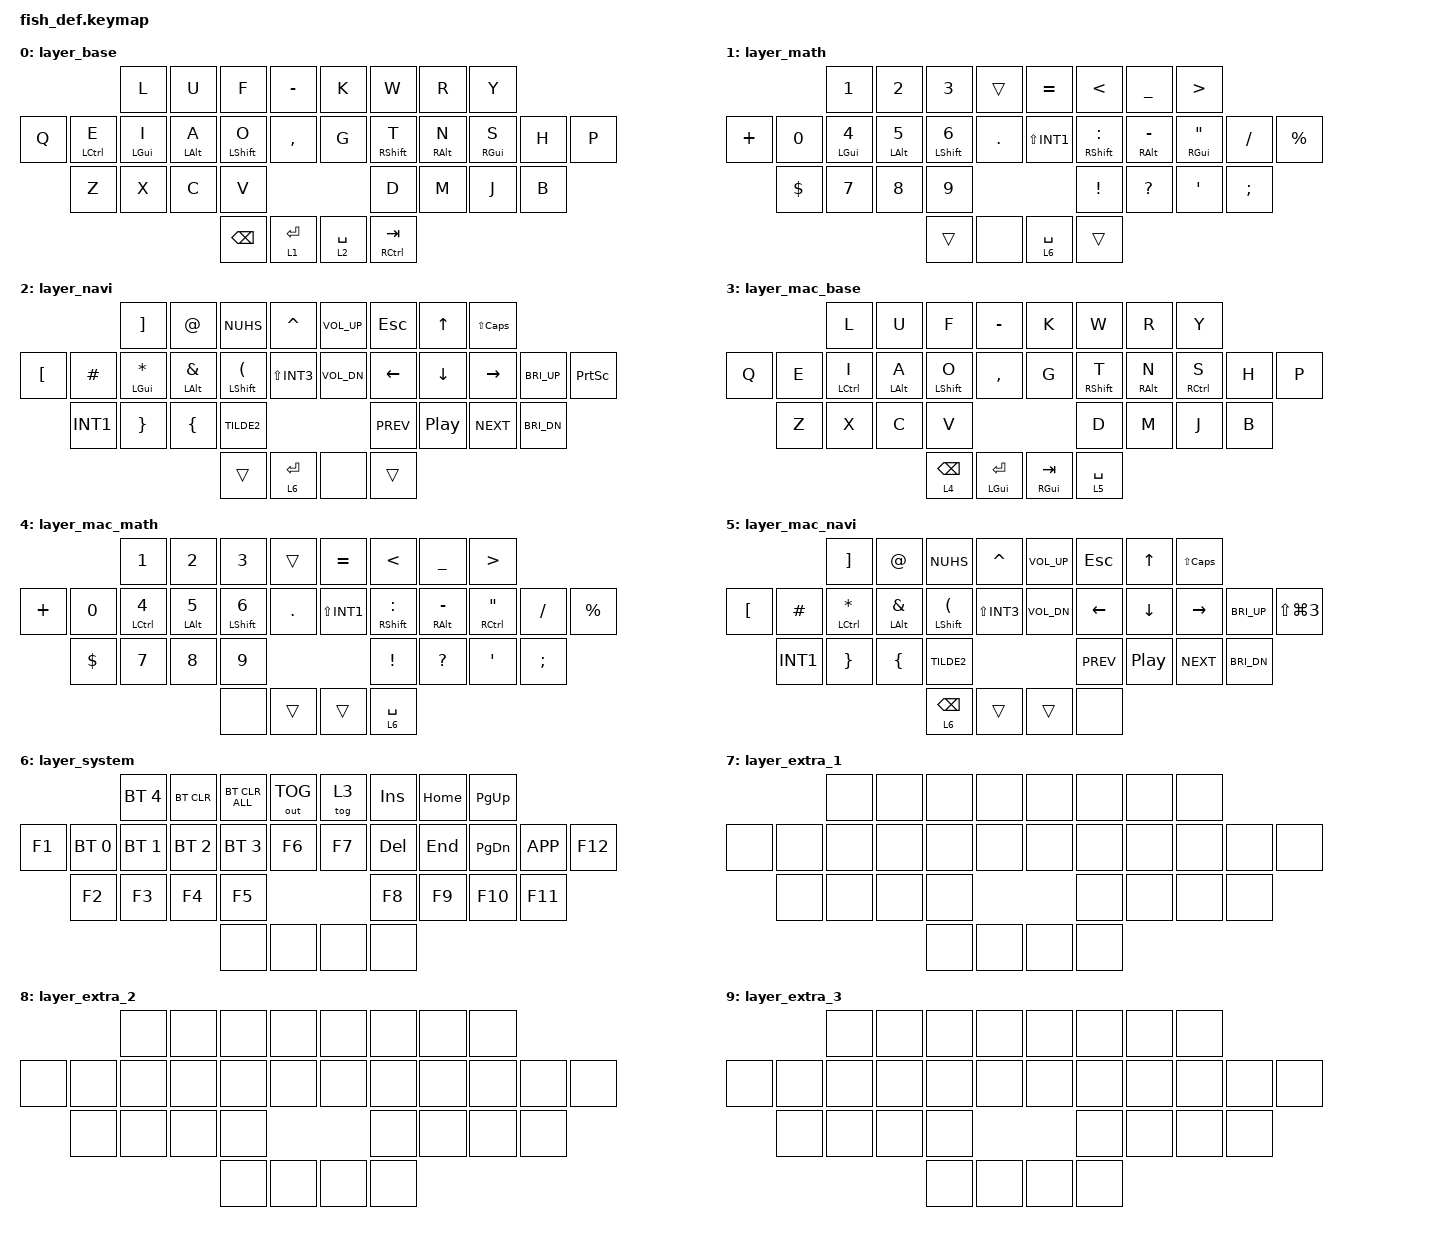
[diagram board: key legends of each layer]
// デフォルトキーマップ（大西配列、Win優先、JIS方式）
// キーマップを更新する方法は https://o24.works/fish/guide を参照
// 視覚的に編集するには https://o24.works/fish/editor を参照


// 定義を呼んでくる
#include <behaviors.dtsi>
#include <dt-bindings/zmk/keys.h>
#include <dt-bindings/zmk/mouse.h>
#include <dt-bindings/zmk/bt.h>
#include <dt-bindings/zmk/outputs.h>
#include <dt-bindings/zmk/pointing.h>

// US とJISの違いを定義しておく
#define JP_DQUOTE       AT                // "
#define JP_AMPERSAND    CARET             // &
#define JP_QUOTE        AMPERSAND         // '
#define JP_EQUAL        UNDER             // =
#define JP_CARET        EQUAL             // ^
#define JP_YEN          0x89              // ¥
#define JP_PLUS         COLON             // +
#define JP_TILDE        PLUS              // ~
#define JP_PIPE         LS(0x89)          // |
#define JP_AT           LEFT_BRACKET      // @
#define JP_COLON        SINGLE_QUOTE      // :
#define JP_ASTERISK     DOUBLE_QUOTES     // *
#define JP_BACKQUOTE    LEFT_BRACE        // `
#define JP_UNDERSCORE   LS(0x87)          // _
#define JP_LBRACKET     RIGHT_BRACKET     // [
#define JP_RBRACKET     BACKSLASH         // ]
#define JP_LPAREN       ASTERISK          // (
#define JP_RPAREN       LEFT_PARENTHESIS  // )
#define JP_LBRACE       RIGHT_BRACE       // {
#define JP_RBRACE       PIPE              // }
#define JP_KANA         LANGUAGE_1        // かな
#define JP_EISU         LANGUAGE_2        // 英数
#define JP_HANZEN       GRAVE             // 半角/全角

// 特殊入力の挙動を調整できる

&mt {
    flavor = "tap-preferred";
    tapping-term-ms = <225>;
    quick-tap-ms = <200>;
    require-prior-idle-ms = <150>;
};

&lt {
    flavor = "balanced";
    tapping-term-ms = <175>;
    quick-tap-ms = <200>;
};

&sk {
};

&sl {
};

&caps_word {
};

&key_repeat {
};


/ {
    // 独自の入力を定義できる（上級者向け）

    behaviors {
    };

    macros {
    };

    conditional_layers {
    };


    // 複数キーの同時押しに特別の入力を設定できる
    // キー番号早見表：
    //       0  1  2  3     4  5  6  7
    // 8  9 10 11 12 13    14 15 16 17 18 19
    //   20 21 22 23          24 25 26 27
    //            28 29    30 31

    combos {
        compatible = "zmk,combos";
        timeout-ms = <100>;
        require-prior-idle-ms = <150>;

        combo_lang2 {
            key-positions = <11 12>;
            bindings = <&kp LANG2>;
            layers = <0>;
        };

        combo_lang1 {
            key-positions = <15 16>;
            bindings = <&kp LANG1>;
            layers = <0>;
        };

        combo_reset_L {
            key-positions = <3 8 13>;
            bindings = <&bootloader>;
        };

        combo_reset_R {
            key-positions = <4 14 19>;
            bindings = <&bootloader>;
        };

        combo_studio_unlock {
            key-positions = <20 21 22 23>;
            bindings = <&studio_unlock>;
        };
    };
    

    // キーに入力を割り当てる
    // 型（&...）は https://zmk.dev/docs/behaviors/... を参照
    // キーコードは https://zmk.dev/docs/codes/... を参照

    keymap {
        compatible = "zmk,keymap";

        layer_base {
            bindings = <
                        &kp L       &kp U       &kp F       &kp MINUS           &kp K       &kp W       &kp R       &kp Y       
&kp Q       &mt LCTRL E       &mt LGUI I  &mt LALT A  &mt LSHFT O &kp COMMA           &kp G       &mt RSHFT T &mt RALT N  &mt RGUI S  &kp H       &kp P       
            &kp Z       &kp X       &kp C       &kp V                                       &kp D       &kp M       &kp J       &kp B       
                                                &kp BSPC  &lt 1 RET       &lt 2 SPACE &mt RCTRL TAB
            >;
        };

        layer_math {
            bindings = <
                        &kp N1      &kp N2      &kp N3      &trans              &kp EQUAL   &kp LT      &kp UNDER   &kp GT      
&kp PLUS    &kp N0      &mt LGUI N4 &mt LALT N5 &mt LSHFT N6 &kp DOT            &kp LS(INT1) &mt RSHFT COLON &mt RALT MINUS &mt RGUI DQT &kp FSLH &kp PRCNT 
            &kp DLLR    &kp N7      &kp N8      &kp N9                                      &kp EXCL    &kp QMARK   &kp SQT     &kp SEMI    
                                                &trans  &none                    &lt 6 SPACE &trans 
            >;
        };

        layer_navi {
            bindings = <
                        &kp RBKT    &kp AT      &kp NUHS    &kp CARET           &kp C_VOL_UP &kp ESC    &kp UP      &kp LS(CAPS) 
&kp LBKT    &kp HASH    &mt LGUI STAR &mt LALT AMPS &mt LSHFT LPAR &kp LS(INT3) &kp C_VOL_DN &kp LEFT   &kp DOWN    &kp RIGHT   &kp C_BRI_UP &kp PSCRN  
            &kp INT1    &kp RBRC    &kp LBRC    &kp TILDE2                                  &kp C_PREV  &kp C_PP    &kp C_NEXT  &kp C_BRI_DN 
                                                &trans &lt 6 RET                   &none  &trans     
            >;
        };

        layer_mac_base {
            bindings = <
                        &kp L       &kp U       &kp F       &kp MINUS           &kp K       &kp W       &kp R       &kp Y       
&kp Q       &kp E       &mt LCTRL I &mt LALT A  &mt LSHFT O &kp COMMA           &kp G       &mt RSHFT T &mt RALT N  &mt RCTRL S &kp H       &kp P       
            &kp Z       &kp X       &kp C       &kp V                                       &kp D       &kp M       &kp J       &kp B       
                                                &lt 4 BSPC  &mt LGUI RET        &mt RGUI TAB &lt 5 SPACE 
            >;
        };

        layer_mac_math {
            bindings = <
                        &kp N1      &kp N2      &kp N3      &trans              &kp EQUAL   &kp LT      &kp UNDER   &kp GT      
&kp PLUS    &kp N0      &mt LCTRL N4 &mt LALT N5 &mt LSHFT N6 &kp DOT           &kp LS(INT1) &mt RSHFT COLON &mt RALT MINUS &mt RCTRL DQT &kp FSLH &kp PRCNT 
            &kp DLLR    &kp N7      &kp N8      &kp N9                                      &kp EXCL    &kp QMARK   &kp SQT     &kp SEMI    
                                                &none       &trans              &trans      &lt 6 SPACE 
            >;
        };

        layer_mac_navi {
            bindings = <
                        &kp RBKT    &kp AT      &kp NUHS    &kp CARET           &kp C_VOL_UP &kp ESC    &kp UP      &kp LS(CAPS) 
&kp LBKT    &kp HASH    &mt LCTRL STAR &mt LALT AMPS &mt LSHFT LPAR &kp LS(INT3) &kp C_VOL_DN &kp LEFT  &kp DOWN    &kp RIGHT   &kp C_BRI_UP &kp LS(LG(N3)) 
            &kp INT1    &kp RBRC    &kp LBRC    &kp TILDE2                                  &kp C_PREV  &kp C_PP    &kp C_NEXT  &kp C_BRI_DN 
                                                &lt 6 BSPC  &trans              &trans      &none       
            >;
        };

        layer_system {
            bindings = <
                        &bt BT_SEL 4 &bt BT_CLR &bt BT_CLR_ALL &out OUT_TOG     &tog 3      &kp INS     &kp HOME    &kp PG_UP   
&kp F1      &bt BT_SEL 0 &bt BT_SEL 1 &bt BT_SEL 2 &bt BT_SEL 3 &kp F6          &kp F7      &kp DEL     &kp END     &kp PG_DN   &kp K_APP   &kp F12     
            &kp F2      &kp F3      &kp F4      &kp F5                                      &kp F8      &kp F9      &kp F10     &kp F11     
                                                &none       &none               &none       &none       
            >;
        };

        layer_extra_1 {
            bindings = <
                        &none       &none       &none       &none               &none       &none       &none       &none
&none       &none       &none       &none       &none       &none               &none       &none       &none       &none       &none       &none 
            &none       &none       &none       &none                                       &none       &none       &none       &none
                                                &none       &none               &none       &none       
            >;
        };

        layer_extra_2 {
            bindings = <
                        &none       &none       &none       &none               &none       &none       &none       &none
&none       &none       &none       &none       &none       &none               &none       &none       &none       &none       &none       &none 
            &none       &none       &none       &none                                       &none       &none       &none       &none
                                                &none       &none               &none       &none       
            >;
        };

        layer_extra_3 {
            bindings = <
                        &none       &none       &none       &none               &none       &none       &none       &none
&none       &none       &none       &none       &none       &none               &none       &none       &none       &none       &none       &none 
            &none       &none       &none       &none                                       &none       &none       &none       &none
                                                &none       &none               &none       &none       
            >;
        };
    };
};
